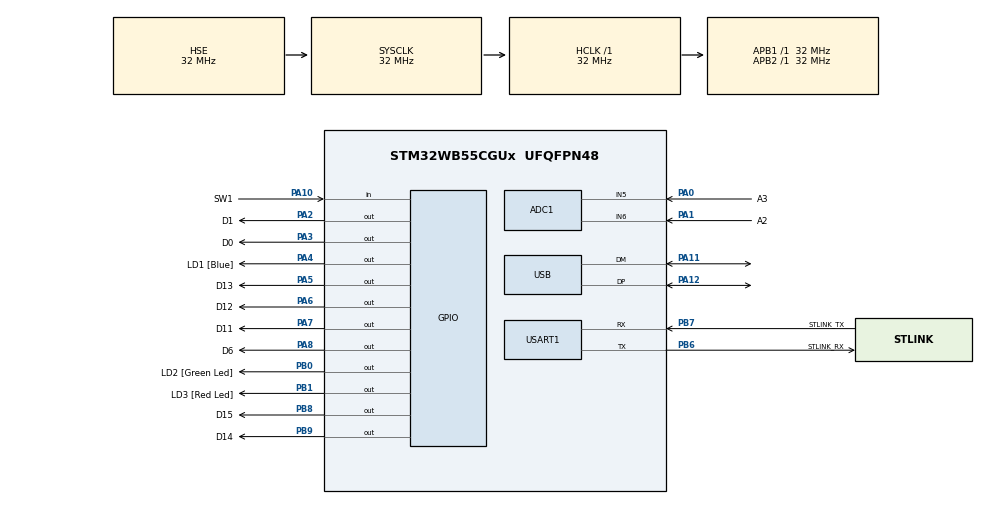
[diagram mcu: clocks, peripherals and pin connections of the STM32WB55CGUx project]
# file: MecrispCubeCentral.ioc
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ADC1.Channel-0\#ChannelRegularConversion=ADC_CHANNEL_5
ADC1.NbrOfConversion=1
ADC1.NbrOfConversionFlag=1
ADC1.OffsetNumber-0\#ChannelRegularConversion=ADC_OFFSET_NONE
ADC1.Rank-0\#ChannelRegularConversion=1
ADC1.SamplingTime-0\#ChannelRegularConversion=ADC_SAMPLETIME_47CYCLES_5
ADC1.master=1
FREERTOS.Tasks01=Main,24,512,MainThread,Default,NULL,Dynamic,NULL,NULL
FREERTOS.configTOTAL_HEAP_SIZE=65536
Mcu.Family=STM32WB
Mcu.Name=STM32WB55CGUx
Mcu.Package=UFQFPN48
NVIC.ADC1_IRQn=true\:5\:0\:false\:false\:true\:true\:true\:true
NVIC.FLASH_IRQn=true\:5\:0\:false\:false\:true\:true\:true\:true
NVIC.PriorityGroup=NVIC_PRIORITYGROUP_4
NVIC.TIM1_TRG_COM_TIM17_IRQn=true\:0\:0\:false\:false\:true\:false\:false\:true
NVIC.TimeBase=TIM1_TRG_COM_TIM17_IRQn
NVIC.TimeBaseIP=TIM17
NVIC.USART1_IRQn=true\:5\:0\:true\:false\:true\:true\:true\:true
NVIC.USB_LP_IRQn=true\:5\:0\:false\:false\:true\:true\:false\:true
OSC_IN.Mode=HSE-External-Oscillator
OSC_IN.Signal=RCC_OSC_IN
OSC_OUT.Mode=HSE-External-Oscillator
OSC_OUT.Signal=RCC_OSC_OUT
PA0.GPIO_Label=A3
PA0.Signal=SharedAnalog_PA0
PA1.GPIO_Label=A2
PA1.Signal=SharedAnalog_PA1
PA10.GPIO_Label=SW1
PA10.GPIO_PuPd=GPIO_PULLUP
PA10.Signal=GPIO_Input
PA11.Mode=Device
PA11.Signal=USB_DM
PA12.Mode=Device
PA12.Signal=USB_DP
PA13.GPIO_Label=JTMS
PA13.Mode=Trace_Asynchronous_SW
PA13.Signal=SYS_JTMS-SWDIO
PA14.GPIO_Label=JTCK
PA14.Mode=Trace_Asynchronous_SW
PA14.Signal=SYS_JTCK-SWCLK
PA2.GPIO_Label=D1
PA2.Signal=GPIO_Output
PA3.GPIO_Label=D0
PA3.Signal=GPIO_Output
PA4.GPIO_Label=LD1 [Blue]
PA4.Signal=GPIO_Output
PA5.GPIO_Label=D13
PA5.Signal=GPIO_Output
PA6.GPIO_Label=D12
PA6.Signal=GPIO_Output
PA7.GPIO_Label=D11
PA7.Signal=GPIO_Output
PA8.GPIO_Label=D6
PA8.Signal=GPIO_Output
PB0.GPIO_Label=LD2 [Green Led]
PB0.Signal=GPIO_Output
PB1.GPIO_Label=LD3 [Red Led]
PB1.Signal=GPIO_Output
PB3.GPIO_Label=JTDO
PB3.Mode=Trace_Asynchronous_SW
PB3.Signal=SYS_JTDO-SWO
PB6.GPIO_Label=STLINK_RX
PB6.Mode=Asynchronous
PB6.Signal=USART1_TX
PB7.GPIO_Label=STLINK_TX
PB7.Mode=Asynchronous
PB7.Signal=USART1_RX
PB8.GPIO_Label=D15
PB8.Signal=GPIO_Output
PB9.GPIO_Label=D14
PB9.Signal=GPIO_Output
PC14-OSC32_IN.Mode=LSE-External-Oscillator
PC14-OSC32_IN.Signal=RCC_OSC32_IN
PC15-OSC32_OUT.Mode=LSE-External-Oscillator
PC15-OSC32_OUT.Signal=RCC_OSC32_OUT
ProjectManager.HeapSize=0x1000
ProjectManager.StackSize=0x1000
ProjectManager.TargetToolchain=STM32CubeIDE
RCC.ADCCLockSelection=RCC_ADCCLKSOURCE_SYSCLK
RCC.ADCFreq_Value=32000000
RCC.AHBFreq_Value=32000000
RCC.APB1Freq_Value=32000000
RCC.APB1TimFreq_Value=32000000
RCC.APB2Freq_Value=32000000
RCC.APB2TimFreq_Value=32000000
RCC.APB3Freq_Value=16000000
RCC.CK48CLockSelection=RCC_USBCLKSOURCE_HSI48
RCC.CortexFreq_Value=32000000
RCC.HCLKFreq_Value=32000000
RCC.HSE_VALUE=32000000
RCC.HSI48_VALUE=48000000
RCC.HSI_VALUE=16000000
RCC.PLLN=32
RCC.PLLSAI1N=24
RCC.RFWKPClockSelection=RCC_RFWKPCLKSOURCE_LSE
RCC.RNGCLockSelection=RCC_RNGCLKSOURCE_LSE
RCC.RTCClockSelection=RCC_RTCCLKSOURCE_LSE
RCC.SMPSCLockSelectionVirtualVirtual=RCC_SMPSCLKSOURCE_HSI
RCC.SYSCLKFreq_VALUE=32000000
RCC.SYSCLKSource=RCC_SYSCLKSOURCE_HSE
RCC.USBFreq_Value=48000000
RCC.VCOOutputFreq_Value=128000000
RF1.Mode=RF1_Activate
RF1.Signal=RF_RF1
SH.SharedAnalog_PA0.0=GPIO_Analog
SH.SharedAnalog_PA0.1=ADC1_IN5,IN5-Single-Ended
SH.SharedAnalog_PA1.0=GPIO_Analog
SH.SharedAnalog_PA1.1=ADC1_IN6,IN6-Single-Ended
STM32_WPAN.BLE_CFG_DIS_FIRMWARE_REVISION_STRING=1
STM32_WPAN.BLE_CFG_DIS_HARDWARE_REVISION_STRING=1
STM32_WPAN.BLE_CFG_DIS_MODEL_NUMBER_STRING=1
STM32_WPAN.BLE_CFG_DIS_SERIAL_NUMBER_STRING=1
STM32_WPAN.BLE_CFG_DIS_SOFTWARE_REVISION_STRING=1
STM32_WPAN.BLE_CFG_DIS_SYSTEM_ID=1
STM32_WPAN.BLE_CFG_SVC_MAX_NBR_CB=7
STM32_WPAN.LOCAL_NAME=Forth
STM32_WPAN.LOCAL_NAME_FORMATTED=,'F','o','r','t','h'
USART1.FIFOMode=FIFOMODE_ENABLE
USART1.OverrunDisableParam=ADVFEATURE_OVERRUN_DISABLE
USART1.VirtualMode-Asynchronous=VM_ASYNC
USB_DEVICE.CLASS_NAME_FS=CDC
USB_DEVICE.VirtualMode=Cdc
USB_DEVICE.VirtualModeFS=Cdc_FS
VP_FREERTOS_VS_CMSIS_V2.Mode=CMSIS_V2
VP_HSEM_VS_HSEM.Mode=HSEM_Activate
VP_RCC_USB.Mode=CRS SYNC Source USB
VP_RNG_VS_RNG.Mode=RNG_Activate
VP_RTC_VS_RTC_Activate.Mode=RTC_Enabled
VP_STM32_WPAN_VS_BLE_HOST.Mode=STM32_WPAN_Enabled
VP_SYS_VS_tim17.Mode=TIM17
VP_TINY_LPM_VS_TINY_LPM.Mode=TINY_LPM_Enabled
VP_USB_DEVICE_VS_USB_DEVICE_CDC_FS.Mode=CDC_FS
board=P-NUCLEO-WB55-Nucleo

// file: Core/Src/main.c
/* USER CODE BEGIN Header */
/**
  ******************************************************************************
  * @file           : main.c
  * @brief          : Main program body
  ******************************************************************************
  * @attention
  *
  * <h2><center>&copy; Copyright (c) 2020 STMicroelectronics.
  * All rights reserved.</center></h2>
  *
  * This software component is licensed by ST under BSD 3-Clause license,
  * the "License"; You may not use this file except in compliance with the
  * License. You may obtain a copy of the License at:
  *                        opensource.org/licenses/BSD-3-Clause
  *
  ******************************************************************************
  */
/* USER CODE END Header */

#include "main.h"
#include "cmsis_os.h"
#include "app_entry.h"
#include "app_common.h"
#include "usb_device.h"

/* USER CODE BEGIN Includes */
#include "app_common.h"
#include "uart.h"
#include "flash.h"
#include "usb_cdc.h"
#include "bsp.h"

/* USER CODE END Includes */

ADC_HandleTypeDef hadc1;

RNG_HandleTypeDef hrng;

RTC_HandleTypeDef hrtc;

UART_HandleTypeDef huart1;

/* Definitions for Main */
osThreadId_t MainHandle;
const osThreadAttr_t Main_attributes = {
  .name = "Main",
  .priority = (osPriority_t) osPriorityNormal,
  .stack_size = 512 * 4
};

void SystemClock_Config(void);
static void MX_GPIO_Init(void);
static void MX_USART1_UART_Init(void);
static void MX_RF_Init(void);
static void MX_RTC_Init(void);
static void MX_ADC1_Init(void);
static void MX_RNG_Init(void);
void MainThread(void *argument);

/* USER CODE BEGIN PFP */
void Forth(void);

/* USER CODE END PFP */

int main(void)
{

  /* MCU Configuration--------------------------------------------------------*/

  /* Reset of all peripherals, Initializes the Flash interface and the Systick. */
  HAL_Init();

  /* Configure the system clock */
  SystemClock_Config();

  /* Initialize all configured peripherals */
  MX_GPIO_Init();
  MX_USART1_UART_Init();
  MX_RF_Init();
  MX_RTC_Init();
  MX_USB_Device_Init();
  MX_ADC1_Init();
  MX_RNG_Init();
  /* USER CODE BEGIN 2 */
#if CFG_DEBUGGER_SUPPORTED == 1
  // test for SWO debug trace
  printf("Hallo Velo\n");
#endif

  /* USER CODE END 2 */

  /* Init scheduler */
  osKernelInitialize();

  /* Create the thread(s) */
  /* creation of Main */
  MainHandle = osThreadNew(MainThread, NULL, &Main_attributes);

  /* Init code for STM32_WPAN */
  APPE_Init();
  /* Start scheduler */
  osKernelStart();

  /* We should never get here as control is now taken by the scheduler */
  /* Infinite loop */
  while (1)
  {

  }
}

void SystemClock_Config(void)
{
  RCC_OscInitTypeDef RCC_OscInitStruct = {0};
  RCC_ClkInitTypeDef RCC_ClkInitStruct = {0};
  RCC_PeriphCLKInitTypeDef PeriphClkInitStruct = {0};
  RCC_CRSInitTypeDef RCC_CRSInitStruct = {0};

  /** Configure LSE Drive Capability
  */
  HAL_PWR_EnableBkUpAccess();
  __HAL_RCC_LSEDRIVE_CONFIG(RCC_LSEDRIVE_LOW);
  /** Configure the main internal regulator output voltage
  */
  __HAL_PWR_VOLTAGESCALING_CONFIG(PWR_REGULATOR_VOLTAGE_SCALE1);
  /** Initializes the CPU, AHB and APB busses clocks
  */
  RCC_OscInitStruct.OscillatorType = RCC_OSCILLATORTYPE_HSI48|RCC_OSCILLATORTYPE_HSI
                              |RCC_OSCILLATORTYPE_HSE|RCC_OSCILLATORTYPE_LSE;
  RCC_OscInitStruct.HSEState = RCC_HSE_ON;
  RCC_OscInitStruct.LSEState = RCC_LSE_ON;
  RCC_OscInitStruct.HSIState = RCC_HSI_ON;
  RCC_OscInitStruct.HSI48State = RCC_HSI48_ON;
  RCC_OscInitStruct.HSICalibrationValue = RCC_HSICALIBRATION_DEFAULT;
  RCC_OscInitStruct.PLL.PLLState = RCC_PLL_NONE;
  if (HAL_RCC_OscConfig(&RCC_OscInitStruct) != HAL_OK)
  {
    Error_Handler();
  }
  /** Configure the SYSCLKSource, HCLK, PCLK1 and PCLK2 clocks dividers
  */
  RCC_ClkInitStruct.ClockType = RCC_CLOCKTYPE_HCLK4|RCC_CLOCKTYPE_HCLK2
                              |RCC_CLOCKTYPE_HCLK|RCC_CLOCKTYPE_SYSCLK
                              |RCC_CLOCKTYPE_PCLK1|RCC_CLOCKTYPE_PCLK2;
  RCC_ClkInitStruct.SYSCLKSource = RCC_SYSCLKSOURCE_HSE;
  RCC_ClkInitStruct.AHBCLKDivider = RCC_SYSCLK_DIV1;
  RCC_ClkInitStruct.APB1CLKDivider = RCC_HCLK_DIV1;
  RCC_ClkInitStruct.APB2CLKDivider = RCC_HCLK_DIV1;
  RCC_ClkInitStruct.AHBCLK2Divider = RCC_SYSCLK_DIV1;
  RCC_ClkInitStruct.AHBCLK4Divider = RCC_SYSCLK_DIV1;

  if (HAL_RCC_ClockConfig(&RCC_ClkInitStruct, FLASH_LATENCY_1) != HAL_OK)
  {
    Error_Handler();
  }
  /** Initializes the peripherals clocks
  */
  PeriphClkInitStruct.PeriphClockSelection = RCC_PERIPHCLK_SMPS|RCC_PERIPHCLK_RFWAKEUP
                              |RCC_PERIPHCLK_RTC|RCC_PERIPHCLK_USART1
                              |RCC_PERIPHCLK_USB|RCC_PERIPHCLK_RNG
                              |RCC_PERIPHCLK_ADC;
  PeriphClkInitStruct.Usart1ClockSelection = RCC_USART1CLKSOURCE_PCLK2;
  PeriphClkInitStruct.UsbClockSelection = RCC_USBCLKSOURCE_HSI48;
  PeriphClkInitStruct.RngClockSelection = RCC_RNGCLKSOURCE_LSE;
  PeriphClkInitStruct.AdcClockSelection = RCC_ADCCLKSOURCE_SYSCLK;
  PeriphClkInitStruct.RTCClockSelection = RCC_RTCCLKSOURCE_LSE;
  PeriphClkInitStruct.RFWakeUpClockSelection = RCC_RFWKPCLKSOURCE_LSE;
  PeriphClkInitStruct.SmpsClockSelection = RCC_SMPSCLKSOURCE_HSE;
  PeriphClkInitStruct.SmpsDivSelection = RCC_SMPSCLKDIV_RANGE0;
  if (HAL_RCCEx_PeriphCLKConfig(&PeriphClkInitStruct) != HAL_OK)
  {
    Error_Handler();
  }
  /* USER CODE BEGIN Smps */

  /**
   * This prevents the CPU2 to disable the HSI48 oscillator when
   * it does not use anymore the RNG IP
   */
  LL_HSEM_1StepLock( HSEM, 5 );
  LL_RCC_HSI48_Enable();

  /* USER CODE END Smps */
  /** Enable the SYSCFG APB clock
  */
  __HAL_RCC_CRS_CLK_ENABLE();
  /** Configures CRS
  */
  RCC_CRSInitStruct.Prescaler = RCC_CRS_SYNC_DIV1;
  RCC_CRSInitStruct.Source = RCC_CRS_SYNC_SOURCE_USB;
  RCC_CRSInitStruct.Polarity = RCC_CRS_SYNC_POLARITY_RISING;
  RCC_CRSInitStruct.ReloadValue = __HAL_RCC_CRS_RELOADVALUE_CALCULATE(48000000,1000);
  RCC_CRSInitStruct.ErrorLimitValue = 34;
  RCC_CRSInitStruct.HSI48CalibrationValue = 32;

  HAL_RCCEx_CRSConfig(&RCC_CRSInitStruct);
}

static void MX_ADC1_Init(void)
{

  ADC_ChannelConfTypeDef sConfig = {0};

  /** Common config
  */
  hadc1.Instance = ADC1;
  hadc1.Init.ClockPrescaler = ADC_CLOCK_ASYNC_DIV1;
  hadc1.Init.Resolution = ADC_RESOLUTION_12B;
  hadc1.Init.DataAlign = ADC_DATAALIGN_RIGHT;
  hadc1.Init.ScanConvMode = ADC_SCAN_DISABLE;
  hadc1.Init.EOCSelection = ADC_EOC_SINGLE_CONV;
  hadc1.Init.LowPowerAutoWait = DISABLE;
  hadc1.Init.ContinuousConvMode = DISABLE;
  hadc1.Init.NbrOfConversion = 1;
  hadc1.Init.DiscontinuousConvMode = DISABLE;
  hadc1.Init.NbrOfDiscConversion = 1;
  hadc1.Init.ExternalTrigConv = ADC_SOFTWARE_START;
  hadc1.Init.ExternalTrigConvEdge = ADC_EXTERNALTRIGCONVEDGE_NONE;
  hadc1.Init.DMAContinuousRequests = DISABLE;
  hadc1.Init.Overrun = ADC_OVR_DATA_PRESERVED;
  hadc1.Init.OversamplingMode = DISABLE;
  if (HAL_ADC_Init(&hadc1) != HAL_OK)
  {
    Error_Handler();
  }
  /** Configure Regular Channel
  */
  sConfig.Channel = ADC_CHANNEL_5;
  sConfig.Rank = ADC_REGULAR_RANK_1;
  sConfig.SamplingTime = ADC_SAMPLETIME_47CYCLES_5;
  sConfig.SingleDiff = ADC_SINGLE_ENDED;
  sConfig.OffsetNumber = ADC_OFFSET_NONE;
  sConfig.Offset = 0;
  if (HAL_ADC_ConfigChannel(&hadc1, &sConfig) != HAL_OK)
  {
    Error_Handler();
  }

}

static void MX_RF_Init(void)
{

}

static void MX_RNG_Init(void)
{

  hrng.Instance = RNG;
  if (HAL_RNG_Init(&hrng) != HAL_OK)
  {
    Error_Handler();
  }

}

static void MX_RTC_Init(void)
{

  /** Initialize RTC Only
  */
  hrtc.Instance = RTC;
  hrtc.Init.HourFormat = RTC_HOURFORMAT_24;
  hrtc.Init.AsynchPrediv = CFG_RTC_ASYNCH_PRESCALER;
  hrtc.Init.SynchPrediv = CFG_RTC_SYNCH_PRESCALER;
  hrtc.Init.OutPut = RTC_OUTPUT_DISABLE;
  hrtc.Init.OutPutPolarity = RTC_OUTPUT_POLARITY_HIGH;
  hrtc.Init.OutPutType = RTC_OUTPUT_TYPE_OPENDRAIN;
  hrtc.Init.OutPutRemap = RTC_OUTPUT_REMAP_NONE;
  if (HAL_RTC_Init(&hrtc) != HAL_OK)
  {
    Error_Handler();
  }

}

static void MX_USART1_UART_Init(void)
{

  huart1.Instance = USART1;
  huart1.Init.BaudRate = 115200;
  huart1.Init.WordLength = UART_WORDLENGTH_8B;
  huart1.Init.StopBits = UART_STOPBITS_1;
  huart1.Init.Parity = UART_PARITY_NONE;
  huart1.Init.Mode = UART_MODE_TX_RX;
  huart1.Init.HwFlowCtl = UART_HWCONTROL_NONE;
  huart1.Init.OverSampling = UART_OVERSAMPLING_16;
  huart1.Init.OneBitSampling = UART_ONE_BIT_SAMPLE_DISABLE;
  huart1.Init.ClockPrescaler = UART_PRESCALER_DIV1;
  huart1.AdvancedInit.AdvFeatureInit = UART_ADVFEATURE_RXOVERRUNDISABLE_INIT;
  huart1.AdvancedInit.OverrunDisable = UART_ADVFEATURE_OVERRUN_DISABLE;
  if (HAL_UART_Init(&huart1) != HAL_OK)
  {
    Error_Handler();
  }
  if (HAL_UARTEx_SetTxFifoThreshold(&huart1, UART_TXFIFO_THRESHOLD_1_8) != HAL_OK)
  {
    Error_Handler();
  }
  if (HAL_UARTEx_SetRxFifoThreshold(&huart1, UART_RXFIFO_THRESHOLD_1_8) != HAL_OK)
  {
    Error_Handler();
  }
  if (HAL_UARTEx_EnableFifoMode(&huart1) != HAL_OK)
  {
    Error_Handler();
  }

}

static void MX_GPIO_Init(void)
{
  GPIO_InitTypeDef GPIO_InitStruct = {0};

  /* GPIO Ports Clock Enable */
  __HAL_RCC_GPIOC_CLK_ENABLE();
  __HAL_RCC_GPIOB_CLK_ENABLE();
  __HAL_RCC_GPIOA_CLK_ENABLE();

  /*Configure GPIO pin Output Level */
  HAL_GPIO_WritePin(GPIOB, D15_Pin|D14_Pin|LD2_Pin|LD3_Pin, GPIO_PIN_RESET);

  /*Configure GPIO pin Output Level */
  HAL_GPIO_WritePin(GPIOA, D1_Pin|D0_Pin|LD1_Pin|D13_Pin
                          |D12_Pin|D11_Pin|D6_Pin, GPIO_PIN_RESET);

  /*Configure GPIO pins : D15_Pin D14_Pin LD2_Pin LD3_Pin */
  GPIO_InitStruct.Pin = D15_Pin|D14_Pin|LD2_Pin|LD3_Pin;
  GPIO_InitStruct.Mode = GPIO_MODE_OUTPUT_PP;
  GPIO_InitStruct.Pull = GPIO_NOPULL;
  GPIO_InitStruct.Speed = GPIO_SPEED_FREQ_LOW;
  HAL_GPIO_Init(GPIOB, &GPIO_InitStruct);

  /*Configure GPIO pins : A3_Pin A2_Pin */
  GPIO_InitStruct.Pin = A3_Pin|A2_Pin;
  GPIO_InitStruct.Mode = GPIO_MODE_ANALOG;
  GPIO_InitStruct.Pull = GPIO_NOPULL;
  HAL_GPIO_Init(GPIOA, &GPIO_InitStruct);

  /*Configure GPIO pins : D1_Pin D0_Pin LD1_Pin D13_Pin
                           D12_Pin D11_Pin D6_Pin */
  GPIO_InitStruct.Pin = D1_Pin|D0_Pin|LD1_Pin|D13_Pin
                          |D12_Pin|D11_Pin|D6_Pin;
  GPIO_InitStruct.Mode = GPIO_MODE_OUTPUT_PP;
  GPIO_InitStruct.Pull = GPIO_NOPULL;
  GPIO_InitStruct.Speed = GPIO_SPEED_FREQ_LOW;
  HAL_GPIO_Init(GPIOA, &GPIO_InitStruct);

  /*Configure GPIO pin : SW1_Pin */
  GPIO_InitStruct.Pin = SW1_Pin;
  GPIO_InitStruct.Mode = GPIO_MODE_INPUT;
  GPIO_InitStruct.Pull = GPIO_PULLUP;
  HAL_GPIO_Init(SW1_GPIO_Port, &GPIO_InitStruct);

}

/* USER CODE BEGIN 4 */
void vApplicationStackOverflowHook( TaskHandle_t xTask, signed char *pcTaskName ) {
	Error_Handler();
	for(;;) {
		;
	}
}

void vApplicationMallocFailedHook(void) {
	Error_Handler();
} // vApplicationMallocFailedHook

/* USER CODE END 4 */

void MainThread(void *argument)
{
  /* USER CODE BEGIN 5 */
	BSP_init();
	UART_init();
	CDC_init();
	FLASH_init();

	Forth();

  /* Infinite loop */
  for(;;) {
    Error_Handler();
  }
  /* USER CODE END 5 */
}

 /**
  * @brief  Period elapsed callback in non blocking mode
  * @note   This function is called  when TIM17 interrupt took place, inside
  * HAL_TIM_IRQHandler(). It makes a direct call to HAL_IncTick() to increment
  * a global variable "uwTick" used as application time base.
  * @param  htim : TIM handle
  * @retval None
  */
void HAL_TIM_PeriodElapsedCallback(TIM_HandleTypeDef *htim)
{
  if (htim->Instance == TIM17) {
    HAL_IncTick();
  }
}

void Error_Handler(void)
{
  /* USER CODE BEGIN Error_Handler_Debug */
  /* User can add his own implementation to report the HAL error return state */
	BSP_setLED3(TRUE);
  /* USER CODE END Error_Handler_Debug */
}

/************************ (C) COPYRIGHT STMicroelectronics *****END OF FILE****/
